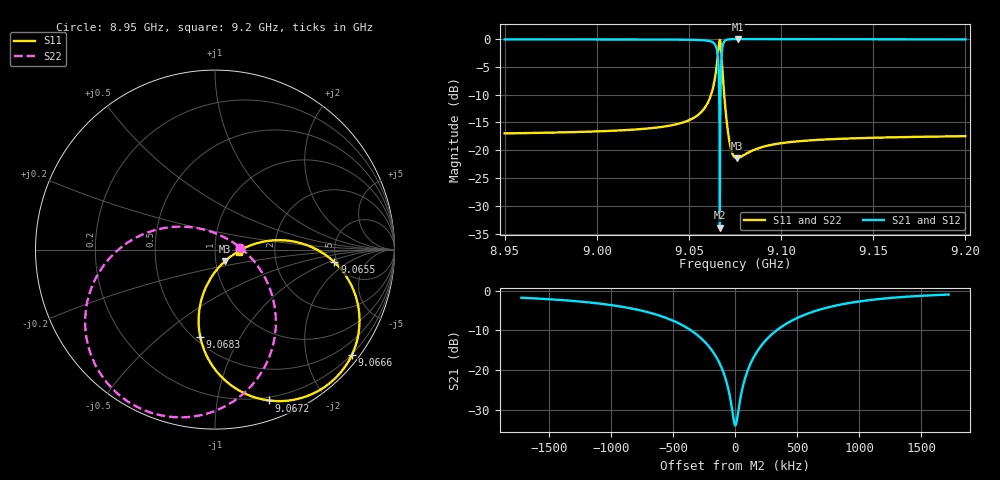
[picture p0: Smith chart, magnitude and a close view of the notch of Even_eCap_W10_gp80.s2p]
! Sonnet Data File
! From: emgraph Version : 16.52
! From Project: Resonator2_extremeCap
! Data is De-embedded
! Data File Written: 10/11/2017 17:55:28
!< HDATE 10/10/2017 20:37:37
!< MDATE 10/10/2017 20:37:37
!< PARAMS
!< Pwid1 = 2000.0
!< Pwid2 = 2000.0
!< Air_gap = 6.0
!< Width = 10.0
!< Gap = 80.0
!< END PARAMS
# GHZ S MA R 50.70000
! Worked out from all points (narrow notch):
!   1844 points, 8.95 GHz to 9.2 GHz, reference 50.7 ohm
!   highest |S21| = -0.03 dB at 9.0764 GHz (marker M1); lowest = -33.9 dB at 9.0668 GHz (marker M2)
!   notch at M2: 33.8 dB deep, 292 kHz wide at half that depth
!   lowest |S11| = -21.4 dB at 9.076 GHz (marker M3), VSWR 1.19, Z = 56.3 - j7.21 ohm
!   |S11| at or under -10 dB: start of sweep to 9.062 GHz; 9.0691 GHz to end of sweep
!   |S22| runs from -21.5 to -0.2 dB; largest |S21 - S12| = 0
!   S11 on the Smith chart (normalised r, x): 8.95 GHz: 1.33, +0.00; 9.0655 GHz: 4.72, -1.21; 9.0666 GHz: 0.18, -2.92; 9.0672 GHz: 0.17, -1.40; 9.0683 GHz: 0.54, -0.69; 9.2 GHz: 1.31, -0.03
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8.95  0.1418 0.6  0.9899 -87.5  0.9899 -87.5  0.1418 4.3
!< P1 F=8.95 Eeff=(6.4467035 -2.972e-5) Z0=(51.7988068 1.1952e-4) R=0.0 C=0.0
!< P2 F=8.95 Eeff=(6.4467035 -2.972e-5) Z0=(51.7988068 1.1952e-4) R=0.0 C=0.0
8.9918  0.1464 1.0  0.9892 -88.2  0.9892 -88.2  0.1464 2.6
9.0334  0.1608 2.9  0.987 -89.6  0.987 -89.6  0.1608 -2.1
9.0602  0.2663 9.2  0.9635 -96.6  0.9635 -96.6  0.266 -22.6
9.063585  0.3973 7.4  0.9159 -104.9  0.9159 -104.9  0.3966 -37.6
9.065521  0.6694 -6.1  0.7341 -123.7  0.7341 -123.7  0.6676 -63.0
9.066185  0.8615 -21.9  0.4828 -141.2  0.4828 -141.2  0.8589 -84.1
9.066576  0.9626 -37.7  0.1999 -155.0  0.1999 -155.0  0.9594 -103.3
9.066685  0.9769 -42.9  0.1022 -155.1  0.1022 -155.1  0.9735 -109.5
9.06679  0.9814 -48.2  0.02024 -82.7  0.02024 -82.7  0.978 -115.8
9.066948  0.9692 -56.3  0.1547 -8.5  0.1547 -8.5  0.9657 -125.4
9.067236  0.8926 -70.4  0.4124 -19.2  0.4124 -19.2  0.8891 -142.5
9.067812  0.6565 -90.7  0.7406 -41.3  0.7406 -41.3  0.6537 -169.3
9.068298  0.4914 -99.7  0.8636 -53.0  0.8636 -53.0  0.489 175.5
9.069601  0.2559 -104.9  0.9643 -68.0  0.9643 -68.0  0.2542 149.9
9.071416  0.1376 -93.8  0.9896 -75.8  0.9896 -75.8  0.1364 122.8
9.075  0.08616 -56.6  0.996 -81.3  0.996 -81.3  0.08554 74.1
9.076  0.08504 -48.4  0.9961 -82.1  0.9961 -82.1  0.08454 64.3
9.0764  0.08513 -45.6  0.9962 -82.3  0.9962 -82.3  0.08468 61.0
9.1168  0.1232 -7.4  0.9924 -87.6  0.9924 -87.6  0.1232 12.2
9.1584  0.1307 -5.5  0.9914 -88.5  0.9914 -88.5  0.1307 8.5
9.2  0.134 -5.2  0.991 -89.1  0.991 -89.1  0.134 7.0
